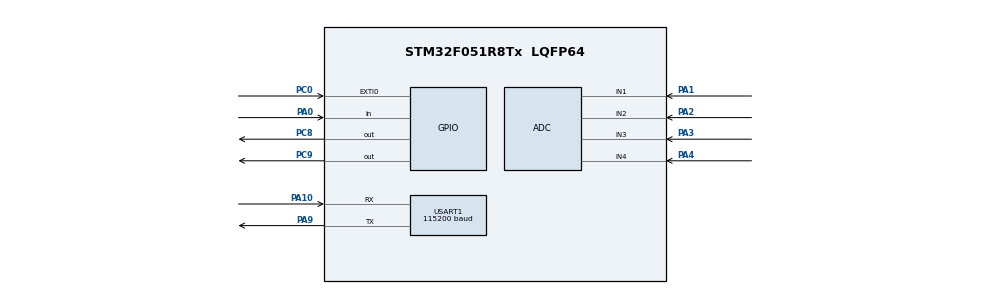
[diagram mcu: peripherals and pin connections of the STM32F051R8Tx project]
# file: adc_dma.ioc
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ADC.ClockPrescaler=ADC_CLOCK_SYNC_PCLK_DIV2
ADC.ContinuousConvMode=ENABLE
ADC.DMAContinuousRequests=ENABLE
ADC.EOCSelection=ADC_EOC_SEQ_CONV
ADC.SamplingTime=ADC_SAMPLETIME_239CYCLES_5
Dma.ADC.0.Direction=DMA_PERIPH_TO_MEMORY
Dma.ADC.0.Instance=DMA1_Channel1
Dma.ADC.0.MemDataAlignment=DMA_MDATAALIGN_HALFWORD
Dma.ADC.0.MemInc=DMA_MINC_ENABLE
Dma.ADC.0.Mode=DMA_CIRCULAR
Dma.ADC.0.PeriphDataAlignment=DMA_PDATAALIGN_HALFWORD
Dma.ADC.0.PeriphInc=DMA_PINC_DISABLE
Dma.ADC.0.Priority=DMA_PRIORITY_LOW
Dma.Request0=ADC
Mcu.Family=STM32F0
Mcu.Name=STM32F051R8Tx
Mcu.Package=LQFP64
NVIC.DMA1_Channel1_IRQn=true\:0\:0\:false\:false\:true\:false\:true
NVIC.EXTI0_1_IRQn=true\:0\:0\:false\:true\:true\:2\:true\:true
NVIC.TIM6_DAC_IRQn=true\:0\:0\:false\:true\:true\:1\:true\:true
NVIC.USART1_IRQn=true\:0\:0\:false\:true\:true\:3\:true\:true
PA0.Signal=GPIO_Input
PA1.Mode=IN1
PA1.Signal=ADC_IN1
PA10.Mode=Asynchronous
PA10.Signal=USART1_RX
PA13.Mode=Serial_Wire
PA13.Signal=SYS_SWDIO
PA14.Mode=Serial_Wire
PA14.Signal=SYS_SWCLK
PA2.Mode=IN2
PA2.Signal=ADC_IN2
PA3.Mode=IN3
PA3.Signal=ADC_IN3
PA4.Mode=IN4
PA4.Signal=ADC_IN4
PA9.Mode=Asynchronous
PA9.Signal=USART1_TX
PC0.GPIO_PuPd=GPIO_PULLUP
PC0.Signal=GPXTI0
PC8.Signal=GPIO_Output
PC9.Signal=GPIO_Output
ProjectManager.HeapSize=0x200
ProjectManager.StackSize=0x400
ProjectManager.TargetToolchain=MDK-ARM V5.27
TIM6.AutoReloadPreload=TIM_AUTORELOAD_PRELOAD_ENABLE
TIM6.Period=9990
TIM6.Prescaler=7999
USART1.BaudRate=115200
USART1.VirtualMode-Asynchronous=VM_ASYNC
VP_TIM6_VS_ClockSourceINT.Mode=Enable_Timer
board=custom

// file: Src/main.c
/* USER CODE BEGIN Header */
/**
  ******************************************************************************
  * @file           : main.c
  * @brief          : Main program body
  ******************************************************************************
  * @attention
  *
  * <h2><center>&copy; Copyright (c) 2020 STMicroelectronics.
  * All rights reserved.</center></h2>
  *
  * This software component is licensed by ST under BSD 3-Clause license,
  * the "License"; You may not use this file except in compliance with the
  * License. You may obtain a copy of the License at:
  *                        opensource.org/licenses/BSD-3-Clause
  *
  ******************************************************************************
  */
/* USER CODE END Header */

#include "main.h"
#include "stdio.h"

ADC_HandleTypeDef hadc;
DMA_HandleTypeDef hdma_adc;

TIM_HandleTypeDef htim6;

UART_HandleTypeDef huart1;

void SystemClock_Config(void);
static void MX_GPIO_Init(void);
static void MX_DMA_Init(void);
static void MX_TIM6_Init(void);
static void MX_USART1_UART_Init(void);
static void MX_ADC_Init(void);
static void MX_NVIC_Init(void);
/* USER CODE BEGIN PFP */

uint8_t rx_data = 0;
int step = 0;

/* USER CODE END PFP */

/* USER CODE BEGIN 0 */
void HAL_GPIO_EXTI_Callback(uint16_t GPIO_Pin)
{
	HAL_GPIO_WritePin(GPIOC, GPIO_PIN_9,GPIO_PIN_SET);
	HAL_TIM_Base_Start_IT(&htim6);
	HAL_Delay(10);
}

void HAL_TIM_PeriodElapsedCallback(TIM_HandleTypeDef *htim)
{
	if(htim->Instance == TIM6){
		if (step < 3){
			step++;
			HAL_GPIO_TogglePin(GPIOC, GPIO_PIN_8);
		}
		else{
			HAL_GPIO_WritePin(GPIOC, GPIO_PIN_8,GPIO_PIN_RESET);
			HAL_GPIO_WritePin(GPIOC, GPIO_PIN_9,GPIO_PIN_RESET);
			step = 0;
			HAL_TIM_Base_Stop_IT(&htim6);
		}
	}
}

void HAL_UART_RxCpltCallback(UART_HandleTypeDef *huart)
{
	if(huart->Instance == USART1){
		HAL_UART_Receive_IT(&huart1, &rx_data, 1);
		HAL_UART_Transmit(&huart1, &rx_data, 1, 10);
	}
}

/* USER CODE END 0 */

int main(void)
{
  /* USER CODE BEGIN 1 */
	volatile uint32_t adcVal[2] = {0,};
	uint8_t msg[20] = {0,};
  /* USER CODE END 1 */

  /* MCU Configuration--------------------------------------------------------*/

  /* Reset of all peripherals, Initializes the Flash interface and the Systick. */
  HAL_Init();

  /* Configure the system clock */
  SystemClock_Config();

  /* Initialize all configured peripherals */
  MX_GPIO_Init();
  MX_DMA_Init();
  MX_TIM6_Init();
  MX_USART1_UART_Init();
  MX_ADC_Init();

  /* Initialize interrupts */
  MX_NVIC_Init();
  /* USER CODE BEGIN 2 */
	//HAL_TIM_Base_Start_IT(&htim6);
  /* USER CODE END 2 */
	HAL_ADC_Start_DMA(&hadc, &adcVal[0], 4);
  /* Infinite loop */
  while (1)
  {
		uint16_t adcCh1 = (adcVal[0] & 0xFFFF0000) >> 16;
		uint16_t adcCh2 = (adcVal[0] & 0x0000FFFF);

		sprintf((char*)msg, "%4x || %4x\n\r", adcCh1 , adcCh2);
		HAL_UART_Transmit(&huart1, msg, 20, 20);

  }
}

void SystemClock_Config(void)
{
  RCC_OscInitTypeDef RCC_OscInitStruct = {0};
  RCC_ClkInitTypeDef RCC_ClkInitStruct = {0};
  RCC_PeriphCLKInitTypeDef PeriphClkInit = {0};

  /** Initializes the CPU, AHB and APB busses clocks
  */
  RCC_OscInitStruct.OscillatorType = RCC_OSCILLATORTYPE_HSI;
  RCC_OscInitStruct.HSIState = RCC_HSI_ON;
  RCC_OscInitStruct.HSICalibrationValue = RCC_HSICALIBRATION_DEFAULT;
  RCC_OscInitStruct.PLL.PLLState = RCC_PLL_NONE;
  if (HAL_RCC_OscConfig(&RCC_OscInitStruct) != HAL_OK)
  {
    Error_Handler();
  }
  /** Initializes the CPU, AHB and APB busses clocks
  */
  RCC_ClkInitStruct.ClockType = RCC_CLOCKTYPE_HCLK|RCC_CLOCKTYPE_SYSCLK
                              |RCC_CLOCKTYPE_PCLK1;
  RCC_ClkInitStruct.SYSCLKSource = RCC_SYSCLKSOURCE_HSI;
  RCC_ClkInitStruct.AHBCLKDivider = RCC_SYSCLK_DIV1;
  RCC_ClkInitStruct.APB1CLKDivider = RCC_HCLK_DIV1;

  if (HAL_RCC_ClockConfig(&RCC_ClkInitStruct, FLASH_LATENCY_0) != HAL_OK)
  {
    Error_Handler();
  }
  PeriphClkInit.PeriphClockSelection = RCC_PERIPHCLK_USART1;
  PeriphClkInit.Usart1ClockSelection = RCC_USART1CLKSOURCE_PCLK1;
  if (HAL_RCCEx_PeriphCLKConfig(&PeriphClkInit) != HAL_OK)
  {
    Error_Handler();
  }
}

/**
  * @brief NVIC Configuration.
  * @retval None
  */
static void MX_NVIC_Init(void)
{
  /* TIM6_DAC_IRQn interrupt configuration */
  HAL_NVIC_SetPriority(TIM6_DAC_IRQn, 0, 0);
  HAL_NVIC_EnableIRQ(TIM6_DAC_IRQn);
  /* EXTI0_1_IRQn interrupt configuration */
  HAL_NVIC_SetPriority(EXTI0_1_IRQn, 2, 0);
  HAL_NVIC_EnableIRQ(EXTI0_1_IRQn);
  /* USART1_IRQn interrupt configuration */
  HAL_NVIC_SetPriority(USART1_IRQn, 1, 0);
  HAL_NVIC_EnableIRQ(USART1_IRQn);
}

static void MX_ADC_Init(void)
{

  ADC_ChannelConfTypeDef sConfig = {0};

  /** Configure the global features of the ADC (Clock, Resolution, Data Alignment and number of conversion)
  */
  hadc.Instance = ADC1;
  hadc.Init.ClockPrescaler = ADC_CLOCK_SYNC_PCLK_DIV2;
  hadc.Init.Resolution = ADC_RESOLUTION_12B;
  hadc.Init.DataAlign = ADC_DATAALIGN_RIGHT;
  hadc.Init.ScanConvMode = ADC_SCAN_DIRECTION_FORWARD;
  hadc.Init.EOCSelection = ADC_EOC_SEQ_CONV;
  hadc.Init.LowPowerAutoWait = DISABLE;
  hadc.Init.LowPowerAutoPowerOff = DISABLE;
  hadc.Init.ContinuousConvMode = ENABLE;
  hadc.Init.DiscontinuousConvMode = DISABLE;
  hadc.Init.ExternalTrigConv = ADC_SOFTWARE_START;
  hadc.Init.ExternalTrigConvEdge = ADC_EXTERNALTRIGCONVEDGE_NONE;
  hadc.Init.DMAContinuousRequests = ENABLE;
  hadc.Init.Overrun = ADC_OVR_DATA_PRESERVED;
  if (HAL_ADC_Init(&hadc) != HAL_OK)
  {
    Error_Handler();
  }
  /** Configure for the selected ADC regular channel to be converted.
  */
  sConfig.Channel = ADC_CHANNEL_1;
  sConfig.Rank = ADC_RANK_CHANNEL_NUMBER;
  sConfig.SamplingTime = ADC_SAMPLETIME_239CYCLES_5;
  if (HAL_ADC_ConfigChannel(&hadc, &sConfig) != HAL_OK)
  {
    Error_Handler();
  }
  /** Configure for the selected ADC regular channel to be converted.
  */
  sConfig.Channel = ADC_CHANNEL_2;
  if (HAL_ADC_ConfigChannel(&hadc, &sConfig) != HAL_OK)
  {
    Error_Handler();
  }
  /** Configure for the selected ADC regular channel to be converted.
  */
  sConfig.Channel = ADC_CHANNEL_3;
  if (HAL_ADC_ConfigChannel(&hadc, &sConfig) != HAL_OK)
  {
    Error_Handler();
  }
  /** Configure for the selected ADC regular channel to be converted.
  */
  sConfig.Channel = ADC_CHANNEL_4;
  if (HAL_ADC_ConfigChannel(&hadc, &sConfig) != HAL_OK)
  {
    Error_Handler();
  }

}

static void MX_TIM6_Init(void)
{

  TIM_MasterConfigTypeDef sMasterConfig = {0};

  htim6.Instance = TIM6;
  htim6.Init.Prescaler = 7999;
  htim6.Init.CounterMode = TIM_COUNTERMODE_UP;
  htim6.Init.Period = 999;
  htim6.Init.AutoReloadPreload = TIM_AUTORELOAD_PRELOAD_ENABLE;

  if (HAL_TIM_Base_Init(&htim6) != HAL_OK)
  {
    Error_Handler();
  }
  sMasterConfig.MasterOutputTrigger = TIM_TRGO_RESET;
  sMasterConfig.MasterSlaveMode = TIM_MASTERSLAVEMODE_DISABLE;
  if (HAL_TIMEx_MasterConfigSynchronization(&htim6, &sMasterConfig) != HAL_OK)
  {
    Error_Handler();
  }

}

static void MX_USART1_UART_Init(void)
{

  huart1.Instance = USART1;
  huart1.Init.BaudRate = 115200;
  huart1.Init.WordLength = UART_WORDLENGTH_8B;
  huart1.Init.StopBits = UART_STOPBITS_1;
  huart1.Init.Parity = UART_PARITY_NONE;
  huart1.Init.Mode = UART_MODE_TX_RX;
  huart1.Init.HwFlowCtl = UART_HWCONTROL_NONE;
  huart1.Init.OverSampling = UART_OVERSAMPLING_16;
  huart1.Init.OneBitSampling = UART_ONE_BIT_SAMPLE_DISABLE;
  huart1.AdvancedInit.AdvFeatureInit = UART_ADVFEATURE_NO_INIT;
  if (HAL_UART_Init(&huart1) != HAL_OK)
  {
    Error_Handler();
  }

}

static void MX_DMA_Init(void)
{

  /* DMA controller clock enable */
  __HAL_RCC_DMA1_CLK_ENABLE();

  /* DMA interrupt init */
  /* DMA1_Channel1_IRQn interrupt configuration */
  HAL_NVIC_SetPriority(DMA1_Channel1_IRQn, 0, 0);
  HAL_NVIC_EnableIRQ(DMA1_Channel1_IRQn);
}

static void MX_GPIO_Init(void)
{
  GPIO_InitTypeDef GPIO_InitStruct = {0};

  /* GPIO Ports Clock Enable */
  __HAL_RCC_GPIOC_CLK_ENABLE();
  __HAL_RCC_GPIOA_CLK_ENABLE();

  /*Configure GPIO pin Output Level */
  HAL_GPIO_WritePin(GPIOC, GPIO_PIN_8|GPIO_PIN_9, GPIO_PIN_RESET);

  /*Configure GPIO pin : PC0 */
  GPIO_InitStruct.Pin = GPIO_PIN_0;
  GPIO_InitStruct.Mode = GPIO_MODE_IT_RISING;
  GPIO_InitStruct.Pull = GPIO_PULLUP;
  HAL_GPIO_Init(GPIOC, &GPIO_InitStruct);

  /*Configure GPIO pin : PA0 */
  GPIO_InitStruct.Pin = GPIO_PIN_0;
  GPIO_InitStruct.Mode = GPIO_MODE_INPUT;
  GPIO_InitStruct.Pull = GPIO_NOPULL;
  HAL_GPIO_Init(GPIOA, &GPIO_InitStruct);

  /*Configure GPIO pins : PC8 PC9 */
  GPIO_InitStruct.Pin = GPIO_PIN_8|GPIO_PIN_9;
  GPIO_InitStruct.Mode = GPIO_MODE_OUTPUT_PP;
  GPIO_InitStruct.Pull = GPIO_NOPULL;
  GPIO_InitStruct.Speed = GPIO_SPEED_FREQ_LOW;
  HAL_GPIO_Init(GPIOC, &GPIO_InitStruct);

}

void Error_Handler(void)
{
}

/************************ (C) COPYRIGHT STMicroelectronics *****END OF FILE****/
